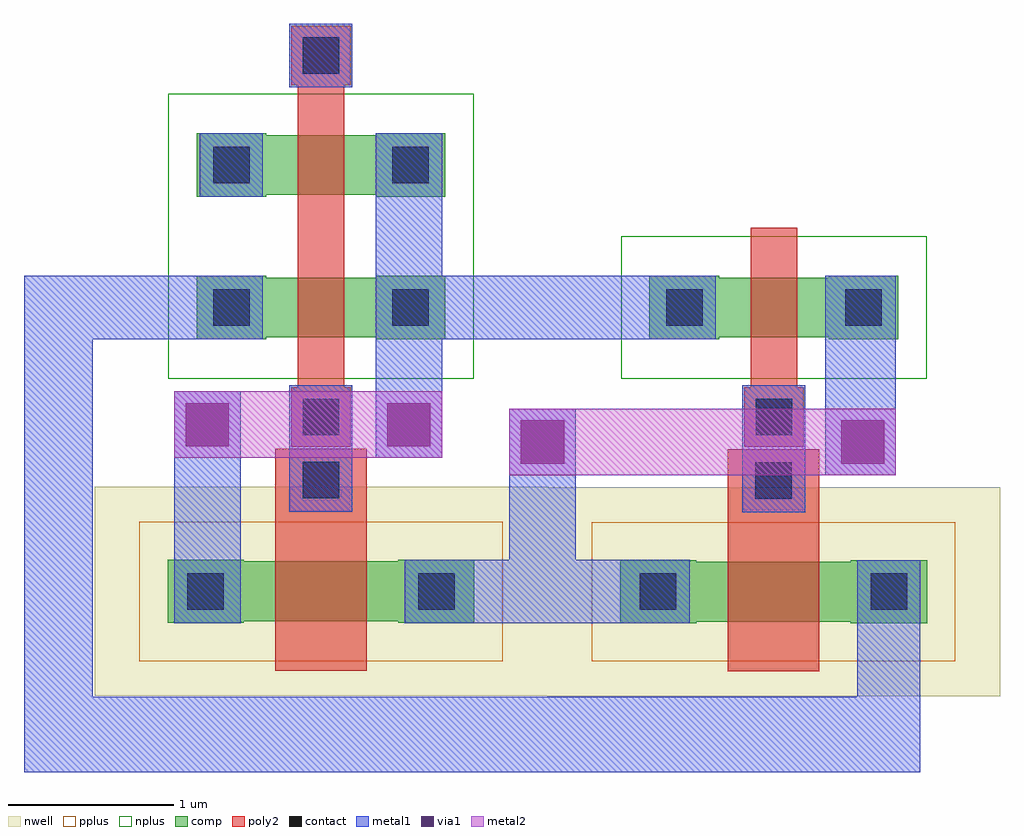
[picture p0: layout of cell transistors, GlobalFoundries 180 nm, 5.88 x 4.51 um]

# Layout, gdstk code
from math import pi, radians
import gdstk
lib = gdstk.Library(unit=1e-6, precision=1e-09)
def R(c, l, rs):  # rectangles x0, y0, x1, y1
    for r in rs: c.add(gdstk.rectangle(r[:2], r[2:], *l))
nwell = (21, 0)
comp = (22, 0)
poly2 = (30, 0)
pplus = (31, 0)
nplus = (32, 0)
contact = (33, 0)
metal1 = (34, 0)
via1 = (35, 0)
metal2 = (36, 0)

nfet_2 = lib.new_cell('nfet$2')
R(nfet_2, comp, [(-0.42,-0.01,0,0.37), (0.66,-0.01,1.08,0.37), (0,0,0.66,0.36)])
R(nfet_2, poly2, [(0.19,-0.3,0.47,0.66), (0.15,0.66,0.51,1.02)])
R(nfet_2, nplus, [(-0.59,-0.25,1.25,0.61)])
R(nfet_2, contact, [(-0.32,0.07,-0.1,0.29), (0.76,0.07,0.98,0.29), (0.22,0.73,0.44,0.95)])
R(nfet_2, metal1, [(-0.4,-0.011,-0.02,0.371), (0.68,-0.011,1.06,0.371), (0.14,0.649,0.52,1.031)])
nfet_2.add(gdstk.Label('GND', (-0.21,0.18), layer=34, texttype=10))
nfet_2.add(gdstk.Label('sw_node ', (0.87,0.18), layer=34, texttype=10))
nfet_2.add(gdstk.Label('Dx_b', (0.33,0.84), layer=34, texttype=10))

pfet = lib.new_cell('pfet')

nfet_1 = lib.new_cell('nfet$1')
R(nfet_1, comp, [(-0.42,-0.01,0,0.37), (0.66,-0.01,1.08,0.37), (0,0,0.66,0.36)])
R(nfet_1, poly2, [(0.19,-0.3,0.47,0.66), (0.15,0.66,0.51,1.02)])
R(nfet_1, nplus, [(-0.59,-0.25,1.25,0.61)])
R(nfet_1, contact, [(-0.32,0.07,-0.1,0.29), (0.76,0.07,0.98,0.29), (0.22,0.73,0.44,0.95)])
R(nfet_1, metal1, [(-0.4,-0.011,-0.02,0.371), (0.68,-0.011,1.06,0.371), (0.14,0.649,0.52,1.031)])
nfet_1.add(gdstk.Label('Vin', (-0.21,0.18), layer=34, texttype=10))
nfet_1.add(gdstk.Label('sw_node', (0.87,0.18), layer=34, texttype=10))
nfet_1.add(gdstk.Label('phi_s', (0.33,0.84), layer=34, texttype=10))

pfet_3 = lib.new_cell('pfet$3')
R(pfet_3, nwell, [(-0.9,-0.45,1.83,0.81)])
R(pfet_3, comp, [(-0.46,-0.01,0,0.37), (0.93,-0.01,1.39,0.37), (0,0,0.93,0.36)])
R(pfet_3, poly2, [(0.19,-0.3,0.74,0.66), (0.19,0.66,0.74,1.04)])
R(pfet_3, pplus, [(-0.63,-0.24,1.56,0.6)])
R(pfet_3, contact, [(-0.34,0.07,-0.12,0.29), (1.05,0.07,1.27,0.29), (0.355,0.74,0.575,0.96)])
R(pfet_3, metal1, [(-0.42,-0.011,-0.04,0.371), (0.97,-0.011,1.35,0.371), (0.275,0.659,0.655,1.041)])
pfet_3.add(gdstk.Label('sw_node', (-0.23,0.18), layer=34, texttype=10))
pfet_3.add(gdstk.Label('VREF', (1.16,0.18), layer=34, texttype=10))
pfet_3.add(gdstk.Label('Dx_b', (0.465,0.85), layer=34, texttype=10))

pfet_5 = lib.new_cell('pfet$5')
R(pfet_5, nwell, [(-0.9,-0.45,1.83,0.81)])
R(pfet_5, comp, [(-0.46,-0.01,0,0.37), (0.93,-0.01,1.39,0.37), (0,0,0.93,0.36)])
R(pfet_5, poly2, [(0.19,-0.3,0.74,0.66), (0.19,0.66,0.74,1.04)])
R(pfet_5, pplus, [(-0.63,-0.24,1.56,0.6)])
R(pfet_5, contact, [(-0.34,0.07,-0.12,0.29), (1.05,0.07,1.27,0.29), (0.355,0.74,0.575,0.96)])
R(pfet_5, metal1, [(-0.42,-0.011,-0.04,0.371), (0.97,-0.011,1.35,0.371), (0.275,0.659,0.655,1.041)])
pfet_5.add(gdstk.Label('GND', (-0.23,0.18), layer=34, texttype=10))
pfet_5.add(gdstk.Label('VREF', (1.16,0.18), layer=34, texttype=10))
pfet_5.add(gdstk.Label('Dx', (0.465,0.85), layer=34, texttype=10))

nfet = lib.new_cell('nfet')
R(nfet, comp, [(-0.42,-0.01,0,0.37), (0.66,-0.01,1.08,0.37), (0,0,0.66,0.36)])
R(nfet, poly2, [(0.19,-0.3,0.47,0.66), (0.15,0.66,0.51,1.02)])
R(nfet, nplus, [(-0.59,-0.25,1.25,0.61)])
R(nfet, contact, [(-0.32,0.07,-0.1,0.29), (0.76,0.07,0.98,0.29), (0.22,0.73,0.44,0.95)])
R(nfet, metal1, [(-0.4,-0.011,-0.02,0.371), (0.68,-0.011,1.06,0.371), (0.14,0.649,0.52,1.031)])
nfet.add(gdstk.Label('sw_node', (-0.21,0.18), layer=34, texttype=10))
nfet.add(gdstk.Label('VREF', (0.87,0.18), layer=34, texttype=10))
nfet.add(gdstk.Label('Dx', (0.33,0.84), layer=34, texttype=10))

via_dev = lib.new_cell('via_dev')

via_dev_2 = lib.new_cell('via_dev$2')

via_dev_3 = lib.new_cell('via_dev$3')
R(via_dev_3, metal1, [(0,0,0.4,0.4)])
R(via_dev_3, via1, [(0.07,0.07,0.33,0.33)])
R(via_dev_3, metal2, [(0,0,0.4,0.4)])

transistors = lib.new_cell('transistors')
R(transistors, metal1, [(-3.06,-2.895,2.343,-2.44), (-3.06,-2.895,-2.645,0.097), (1.963,-2.895,2.343,-1.616), (-0.765,-1.998,0.953,-1.614), (-0.135,-1.998,0.265,-0.705), (-2.155,-1.996,-1.755,-0.6), (1.77,-1.105,2.195,0.097), (-0.94,-1,-0.54,0.097), (-3.06,-0.285,-1.62,0.097), (-0.94,-0.285,-0.54,0.956), (-0.54,-0.285,1.11,0.097)])
R(transistors, metal2, [(-0.135,-1.105,2.195,-0.705), (-2.155,-1,-0.54,-0.6)])
transistors.add(gdstk.Reference(nfet_2, (-1.6,0.086), x_reflection=True))
transistors.add(gdstk.Reference(pfet, (-1.59,-1.625)))
transistors.add(gdstk.Reference(nfet_1, (-1.6,0.585)))
transistors.add(gdstk.Reference(pfet, (-1.605,-0.795)))
transistors.add(gdstk.Reference(pfet, (1.04,-1.2)))
transistors.add(gdstk.Reference(pfet, (-0.39,-1.395)))
transistors.add(gdstk.Reference(pfet, (1.36,-1.57)))
transistors.add(gdstk.Reference(pfet, (-1.185,-0.55)))
transistors.add(gdstk.Reference(pfet, (-1.22,0.02)))
transistors.add(gdstk.Reference(pfet, (0.355,-1.06)))
transistors.add(gdstk.Reference(pfet, (-1.325,-0.51)))
transistors.add(gdstk.Reference(pfet, (0.475,-1.395)))
transistors.add(gdstk.Reference(pfet, (1.325,-0.51)))
transistors.add(gdstk.Reference(pfet, (-1.36,-1.645)))
transistors.add(gdstk.Reference(pfet, (1.15,-1.465)))
transistors.add(gdstk.Reference(pfet, (-1.185,-1.2)))
transistors.add(gdstk.Reference(pfet, (0.99,-1.5)))
transistors.add(gdstk.Reference(pfet, (-1.535,-0.67)))
transistors.add(gdstk.Reference(pfet, (-1.095,-1.82)))
transistors.add(gdstk.Reference(pfet, (-1.5,-1.395)))
transistors.add(gdstk.Reference(pfet, (1.15,-1.305)))
transistors.add(gdstk.Reference(pfet, (-2.1,-2.79)))
transistors.add(gdstk.Reference(pfet, (0.85,-1.855)))
transistors.add(gdstk.Reference(pfet, (-1.525,-0.995)))
transistors.add(gdstk.Reference(pfet, (-1.635,-1.08)))
transistors.add(gdstk.Reference(pfet, (1.985,-1.305)))
transistors.add(gdstk.Reference(pfet, (0.065,-3.445)))
transistors.add(gdstk.Reference(pfet, (-0.375,-1.125)))
transistors.add(gdstk.Reference(pfet, (1.415,-1.415)))
transistors.add(gdstk.Reference(pfet, (-1.04,-0.66)))
transistors.add(gdstk.Reference(pfet, (1.305,-1.28)))
transistors.add(gdstk.Reference(pfet, (-0.155,-2.805)))
transistors.add(gdstk.Reference(pfet, (2.12,-1.26)))
transistors.add(gdstk.Reference(pfet, (-1.5,-0.95)))
transistors.add(gdstk.Reference(pfet, (1.37,-0.705)))
transistors.add(gdstk.Reference(pfet, (-0.67,-1.995)))
transistors.add(gdstk.Reference(pfet, (-1.415,-1.73)))
transistors.add(gdstk.Reference(pfet, (1.82,-1.52)))
transistors.add(gdstk.Reference(pfet, (-1.055,-1.155)))
transistors.add(gdstk.Reference(pfet, (1.74,-1.11)))
transistors.add(gdstk.Reference(pfet, (-1.285,-1.215)))
transistors.add(gdstk.Reference(pfet, (1.695,-1.075)))
transistors.add(gdstk.Reference(pfet, (-0.4,-0.745)))
transistors.add(gdstk.Reference(pfet, (-1.045,-0.415)))
transistors.add(gdstk.Reference(pfet, (1.02,-0.575)))
transistors.add(gdstk.Reference(pfet, (-0.915,-1.97)))
transistors.add(gdstk.Reference(pfet, (1.97,-1.595)))
transistors.add(gdstk.Reference(pfet_3, (-1.735,-1.985)))
transistors.add(gdstk.Reference(pfet_5, (1.923,-1.987), rotation=pi, x_reflection=True))
transistors.add(gdstk.Reference(nfet, (1.13,0.086), x_reflection=True))
transistors.add(gdstk.Reference(via_dev, (3.57,-0.64)))
transistors.add(gdstk.Reference(via_dev, (2.02,-0.87)))
transistors.add(gdstk.Reference(via_dev, (1.895,-0.78)))
transistors.add(gdstk.Reference(via_dev_2, (1.985,-0.86)))
transistors.add(gdstk.Reference(via_dev_3, (1.795,-1.105)))
transistors.add(gdstk.Reference(via_dev_3, (-0.135,-1.105)))
transistors.add(gdstk.Reference(via_dev_3, (-2.155,-1)))
transistors.add(gdstk.Reference(via_dev_3, (-0.94,-1)))

lib.write_gds('transistors.gds')
